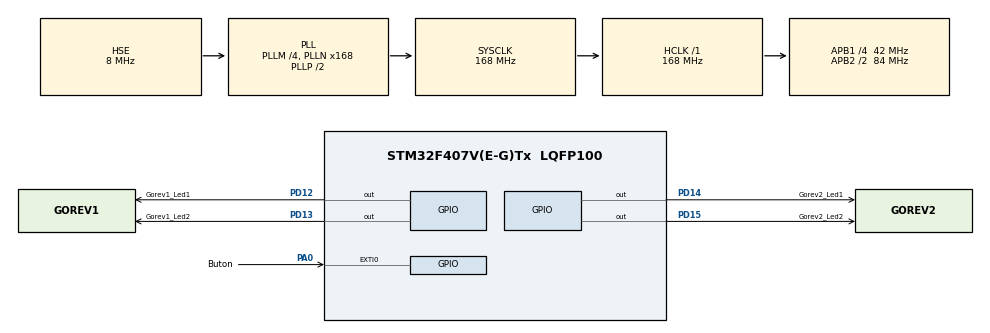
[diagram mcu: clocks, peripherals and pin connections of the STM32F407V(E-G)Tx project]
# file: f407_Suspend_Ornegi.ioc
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FREERTOS.Tasks01=BlinkGorev,24,256,BlinkGorevFonksiyonu,Default,NULL,Dynamic,NULL,NULL;BlinkGorev2,24,256,BlinkGorev2Fonksiyon,Default,NULL,Dynamic,NULL,NULL
FREERTOS.configUSE_NEWLIB_REENTRANT=1
Mcu.Family=STM32F4
Mcu.Name=STM32F407V(E-G)Tx
Mcu.Package=LQFP100
NVIC.EXTI0_IRQn=true\:6\:0\:true\:false\:true\:true\:true\:true\:true
NVIC.PriorityGroup=NVIC_PRIORITYGROUP_4
NVIC.TIM1_UP_TIM10_IRQn=true\:15\:0\:false\:false\:true\:false\:false\:true\:true
NVIC.TimeBase=TIM1_UP_TIM10_IRQn
NVIC.TimeBaseIP=TIM1
PA0-WKUP.GPIO_Label=Buton
PA0-WKUP.GPIO_PuPd=GPIO_PULLDOWN
PA0-WKUP.Signal=GPXTI0
PA13.Mode=Serial_Wire
PA13.Signal=SYS_JTMS-SWDIO
PA14.Mode=Serial_Wire
PA14.Signal=SYS_JTCK-SWCLK
PD12.GPIO_Label=Gorev1_Led1
PD12.GPIO_ModeDefaultOutputPP=GPIO_MODE_OUTPUT_PP
PD12.GPIO_PuPd=GPIO_PULLDOWN
PD12.Signal=GPIO_Output
PD13.GPIO_Label=Gorev1_Led2
PD13.GPIO_PuPd=GPIO_PULLDOWN
PD13.Signal=GPIO_Output
PD14.GPIO_Label=Gorev2_Led1
PD14.GPIO_PuPd=GPIO_PULLDOWN
PD14.Signal=GPIO_Output
PD15.GPIO_Label=Gorev2_Led2
PD15.GPIO_PuPd=GPIO_PULLDOWN
PD15.Signal=GPIO_Output
PH0-OSC_IN.Mode=HSE-External-Oscillator
PH0-OSC_IN.Signal=RCC_OSC_IN
PH1-OSC_OUT.Mode=HSE-External-Oscillator
PH1-OSC_OUT.Signal=RCC_OSC_OUT
ProjectManager.HeapSize=0x200
ProjectManager.StackSize=0x400
ProjectManager.TargetToolchain=STM32CubeIDE
RCC.48MHZClocksFreq_Value=84000000
RCC.AHBFreq_Value=168000000
RCC.APB1CLKDivider=RCC_HCLK_DIV4
RCC.APB1Freq_Value=42000000
RCC.APB1TimFreq_Value=84000000
RCC.APB2CLKDivider=RCC_HCLK_DIV2
RCC.APB2Freq_Value=84000000
RCC.APB2TimFreq_Value=168000000
RCC.CortexFreq_Value=168000000
RCC.HCLKFreq_Value=168000000
RCC.HSE_VALUE=8000000
RCC.HSI_VALUE=16000000
RCC.LSE_VALUE=32768
RCC.PLLM=4
RCC.PLLN=168
RCC.PLLSourceVirtual=RCC_PLLSOURCE_HSE
RCC.SYSCLKFreq_VALUE=168000000
RCC.SYSCLKSource=RCC_SYSCLKSOURCE_PLLCLK
RCC.VCOOutputFreq_Value=336000000
VP_FREERTOS_VS_CMSIS_V2.Mode=CMSIS_V2
VP_SYS_VS_tim1.Mode=TIM1
board=custom

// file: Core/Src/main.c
/* USER CODE BEGIN Header */
/**
  ******************************************************************************
  * @file           : main.c
  * @brief          : Main program body
  ******************************************************************************
  * @attention
  *
  * Copyright (c) 2025 STMicroelectronics.
  * All rights reserved.
  *
  * This software is licensed under terms that can be found in the LICENSE file
  * in the root directory of this software component.
  * If no LICENSE file comes with this software, it is provided AS-IS.
  *
  ******************************************************************************
  */
/* USER CODE END Header */
#include "main.h"
#include "cmsis_os.h"

/* USER CODE BEGIN Includes */
#include "stdio.h"

/* USER CODE END Includes */

/* USER CODE BEGIN PTD */
typedef struct
{
	volatile uint8_t gorevSuspended;
	volatile uint32_t sonInterruptZamani;
	volatile uint16_t gorev1BeklemeSure;
	volatile uint16_t gorev2BeklemeSure;
}programDegiskenleri;

programDegiskenleri program;
/* USER CODE END PTD */

/* Definitions for BlinkGorev */
osThreadId_t BlinkGorevHandle;
const osThreadAttr_t BlinkGorev_attributes = {
  .name = "BlinkGorev",
  .stack_size = 256 * 4,
  .priority = (osPriority_t) osPriorityNormal,
};
/* Definitions for BlinkGorev2 */
osThreadId_t BlinkGorev2Handle;
const osThreadAttr_t BlinkGorev2_attributes = {
  .name = "BlinkGorev2",
  .stack_size = 256 * 4,
  .priority = (osPriority_t) osPriorityNormal,
};

void SystemClock_Config(void);
static void MX_GPIO_Init(void);
void BlinkGorevFonksiyonu(void *argument);
void BlinkGorev2Fonksiyon(void *argument);

int main(void)
{

  /* MCU Configuration--------------------------------------------------------*/

  /* Reset of all peripherals, Initializes the Flash interface and the Systick. */
  HAL_Init();

  /* Configure the system clock */
  SystemClock_Config();

  /* Initialize all configured peripherals */
  MX_GPIO_Init();

  /* Init scheduler */
  osKernelInitialize();

  /* Create the thread(s) */
  /* creation of BlinkGorev */
  BlinkGorevHandle = osThreadNew(BlinkGorevFonksiyonu, NULL, &BlinkGorev_attributes);

  /* creation of BlinkGorev2 */
  BlinkGorev2Handle = osThreadNew(BlinkGorev2Fonksiyon, NULL, &BlinkGorev2_attributes);

  /* USER CODE BEGIN RTOS_EVENTS */
  /* add events, ... */

  program.gorevSuspended =0;
  /* USER CODE END RTOS_EVENTS */

  /* Start scheduler */
  osKernelStart();

  /* We should never get here as control is now taken by the scheduler */

  /* Infinite loop */
  while (1)
  {

  }
}

void SystemClock_Config(void)
{
  RCC_OscInitTypeDef RCC_OscInitStruct = {0};
  RCC_ClkInitTypeDef RCC_ClkInitStruct = {0};

  /** Configure the main internal regulator output voltage
  */
  __HAL_RCC_PWR_CLK_ENABLE();
  __HAL_PWR_VOLTAGESCALING_CONFIG(PWR_REGULATOR_VOLTAGE_SCALE1);

  /** Initializes the RCC Oscillators according to the specified parameters
  * in the RCC_OscInitTypeDef structure.
  */
  RCC_OscInitStruct.OscillatorType = RCC_OSCILLATORTYPE_HSE;
  RCC_OscInitStruct.HSEState = RCC_HSE_ON;
  RCC_OscInitStruct.PLL.PLLState = RCC_PLL_ON;
  RCC_OscInitStruct.PLL.PLLSource = RCC_PLLSOURCE_HSE;
  RCC_OscInitStruct.PLL.PLLM = 4;
  RCC_OscInitStruct.PLL.PLLN = 168;
  RCC_OscInitStruct.PLL.PLLP = RCC_PLLP_DIV2;
  RCC_OscInitStruct.PLL.PLLQ = 4;
  if (HAL_RCC_OscConfig(&RCC_OscInitStruct) != HAL_OK)
  {
    Error_Handler();
  }

  /** Initializes the CPU, AHB and APB buses clocks
  */
  RCC_ClkInitStruct.ClockType = RCC_CLOCKTYPE_HCLK|RCC_CLOCKTYPE_SYSCLK
                              |RCC_CLOCKTYPE_PCLK1|RCC_CLOCKTYPE_PCLK2;
  RCC_ClkInitStruct.SYSCLKSource = RCC_SYSCLKSOURCE_PLLCLK;
  RCC_ClkInitStruct.AHBCLKDivider = RCC_SYSCLK_DIV1;
  RCC_ClkInitStruct.APB1CLKDivider = RCC_HCLK_DIV4;
  RCC_ClkInitStruct.APB2CLKDivider = RCC_HCLK_DIV2;

  if (HAL_RCC_ClockConfig(&RCC_ClkInitStruct, FLASH_LATENCY_5) != HAL_OK)
  {
    Error_Handler();
  }
}

static void MX_GPIO_Init(void)
{
  GPIO_InitTypeDef GPIO_InitStruct = {0};

  /* GPIO Ports Clock Enable */
  __HAL_RCC_GPIOH_CLK_ENABLE();
  __HAL_RCC_GPIOA_CLK_ENABLE();
  __HAL_RCC_GPIOD_CLK_ENABLE();

  /*Configure GPIO pin Output Level */
  HAL_GPIO_WritePin(GPIOD, Gorev1_Led1_Pin|Gorev1_Led2_Pin|Gorev2_Led1_Pin|Gorev2_Led2_Pin, GPIO_PIN_RESET);

  /*Configure GPIO pin : Buton_Pin */
  GPIO_InitStruct.Pin = Buton_Pin;
  GPIO_InitStruct.Mode = GPIO_MODE_IT_RISING;
  GPIO_InitStruct.Pull = GPIO_PULLDOWN;
  HAL_GPIO_Init(Buton_GPIO_Port, &GPIO_InitStruct);

  /*Configure GPIO pins : Gorev1_Led1_Pin Gorev1_Led2_Pin Gorev2_Led1_Pin Gorev2_Led2_Pin */
  GPIO_InitStruct.Pin = Gorev1_Led1_Pin|Gorev1_Led2_Pin|Gorev2_Led1_Pin|Gorev2_Led2_Pin;
  GPIO_InitStruct.Mode = GPIO_MODE_OUTPUT_PP;
  GPIO_InitStruct.Pull = GPIO_PULLDOWN;
  GPIO_InitStruct.Speed = GPIO_SPEED_FREQ_LOW;
  HAL_GPIO_Init(GPIOD, &GPIO_InitStruct);

  /* EXTI interrupt init*/
  HAL_NVIC_SetPriority(EXTI0_IRQn, 6, 0);
  HAL_NVIC_EnableIRQ(EXTI0_IRQn);

}

/* USER CODE BEGIN 4 */
void HAL_GPIO_EXTI_Callback(uint16_t GPIO_Pin)
{
	if(GPIO_Pin == Buton_Pin)
	{
		uint32_t simdikiZaman=HAL_GetTick();
		if(simdikiZaman - program.sonInterruptZamani < debounceSuresi)
		{
			return;
		}
		program.sonInterruptZamani=HAL_GetTick();

		// Toggle gorev durumu
		if(program.gorevSuspended==0)
			program.gorevSuspended=1;

		else
			program.gorevSuspended=0;

		if (program.gorevSuspended)
		{
			program.gorev1BeklemeSure=250;
			program.gorev2BeklemeSure=500;
		}
		else
		{
			program.gorev1BeklemeSure=400;
			program.gorev1BeklemeSure=200;
		}

	}
}
/* USER CODE END 4 */

void BlinkGorevFonksiyonu(void *argument)
{
  /* USER CODE BEGIN 5 */
	program.gorev1BeklemeSure=500;
  /* Infinite loop */
  for(;;)
  {
    HAL_GPIO_WritePin(Gorev1_Led1_GPIO_Port, Gorev1_Led1_Pin, 1);
    HAL_GPIO_WritePin(Gorev1_Led2_GPIO_Port, Gorev1_Led2_Pin, 1);
    vTaskDelay(program.gorev1BeklemeSure/portTICK_PERIOD_MS);;//400 ms
    HAL_GPIO_WritePin(Gorev1_Led1_GPIO_Port, Gorev1_Led1_Pin, 0);
    HAL_GPIO_WritePin(Gorev1_Led2_GPIO_Port, Gorev1_Led2_Pin, 0);
    vTaskDelay(program.gorev1BeklemeSure/portTICK_PERIOD_MS);

    if(program.gorevSuspended==1)
    	vTaskSuspend(BlinkGorevHandle);

  }
  /* USER CODE END 5 */
}

void BlinkGorev2Fonksiyon(void *argument)
{
  /* USER CODE BEGIN BlinkGorev2Fonksiyon */
  /* Infinite loop */
  for(;;)
  {
	  HAL_GPIO_WritePin(Gorev2_Led1_GPIO_Port, Gorev2_Led1_Pin, 1);
	  HAL_GPIO_WritePin(Gorev2_Led2_GPIO_Port, Gorev2_Led2_Pin, 1);
	  vTaskDelay(250/portTICK_PERIOD_MS);;//250 ms
	  HAL_GPIO_WritePin(Gorev2_Led1_GPIO_Port, Gorev2_Led1_Pin, 0);
	  HAL_GPIO_WritePin(Gorev2_Led2_GPIO_Port, Gorev2_Led2_Pin, 0);
	  vTaskDelay(250/portTICK_PERIOD_MS);

	  if(program.gorevSuspended==0)
		  vTaskResume(BlinkGorevHandle);
  }
  /* USER CODE END BlinkGorev2Fonksiyon */
}

void HAL_TIM_PeriodElapsedCallback(TIM_HandleTypeDef *htim)
{
  if (htim->Instance == TIM1)
  {
    HAL_IncTick();
  }
}

void Error_Handler(void)
{
  /* USER CODE BEGIN Error_Handler_Debug */
  /* User can add his own implementation to report the HAL error return state */
  __disable_irq();
  while (1)
  {
	  HAL_GPIO_TogglePin(Gorev1_Led1_GPIO_Port, Gorev1_Led1_Pin);
	  HAL_GPIO_TogglePin(Gorev1_Led2_GPIO_Port, Gorev1_Led2_Pin);
	  HAL_GPIO_TogglePin(Gorev2_Led1_GPIO_Port, Gorev2_Led1_Pin);
	  HAL_GPIO_TogglePin(Gorev2_Led2_GPIO_Port, Gorev2_Led2_Pin);
	  vTaskDelay(1000/portTICK_PERIOD_MS);

  }
  /* USER CODE END Error_Handler_Debug */
}
